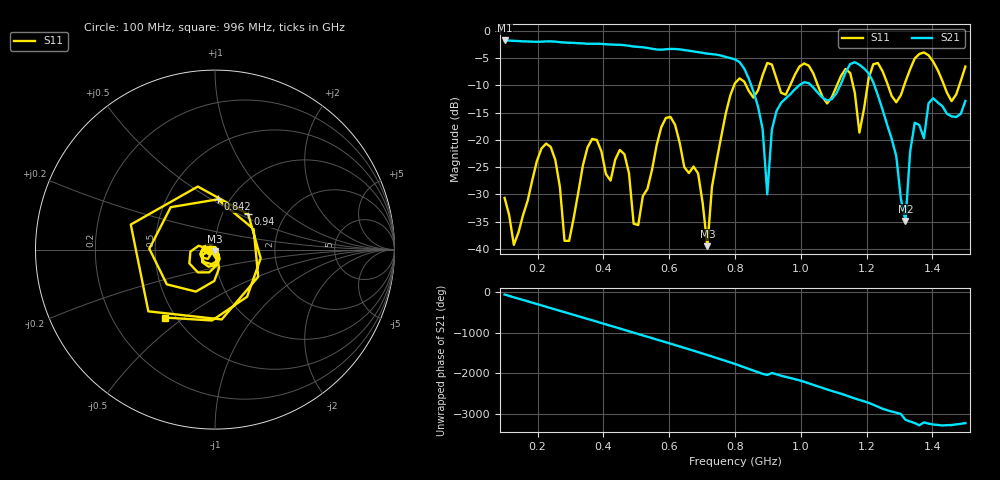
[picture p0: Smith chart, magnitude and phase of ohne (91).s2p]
! NanoVNA-App
! Date: 2025-09-26 09:56:06
! Start: 100MHz Stop: 1,5GHz Points: 101
! S-Parameter data: F S11 S21 S12 S22
# Hz S RI R 50
!  Frequency  S11_Real  S11_Imag  S21_Real  S21_Imag  S12_Real  S12_Imag  S22_Real  S22_Imag
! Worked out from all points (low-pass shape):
!   101 points, 100 MHz to 1.5 GHz, reference 50 ohm
!   highest |S21| = -1.79 dB at 100 MHz (marker M1); lowest = -34.9 dB at 1.318 GHz (marker M2)
!   |S21| within 3 dB of the highest: start of sweep to 770.9 MHz
!   lowest |S11| = -39.5 dB at 716 MHz (marker M3), VSWR 1.02, Z = 49.9 - j1.05 ohm
!   |S11| at or under -10 dB: start of sweep to 797.5 MHz; 833.5 MHz to 874.7 MHz (41.17 MHz wide, 4.82 % of centre); 1.052 GHz to 1.11 GHz (58.34 MHz wide, 5.4 % of centre)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
!   S12 and S22 are empty: the file has one direction only
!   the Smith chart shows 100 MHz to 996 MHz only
!   S11 on the Smith chart (normalised r, x): 100 MHz: 0.94, -0.01; 842 MHz: 0.88, +0.53; 940 MHz: 1.32, +0.56; 996 MHz: 0.44, -0.43
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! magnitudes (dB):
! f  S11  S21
! 100 MHz  -30.6  -1.8
! 128 MHz  -39.2  -1.9
! 226 MHz  -20.7  -2.0
! 296 MHz  -38.5  -2.2
! 338 MHz  -24.6  -2.3
! 464 MHz  -22.6  -2.7
! 506 MHz  -35.6  -3.0
! 576 MHz  -17.7  -3.5
! 688 MHz  -26.2  -3.9
! 716 MHz  -39.5  -4.2
! 800 MHz  -9.6  -5.3
! 842 MHz  -11.0  -8.8
! 898 MHz  -5.9  -30.0
! 940 MHz  -11.4  -13.2
! 996 MHz  -6.6  -10.0
! 1.038 GHz  -7.8  -10.4
! 1.178 GHz  -18.7  -6.2
! 1.22 GHz  -6.2  -9.4
! 1.276 GHz  -12.0  -19.8
! 1.318 GHz  -9.3  -34.9
! 1.346 GHz  -5.1  -16.9
! 1.5 GHz  -6.6  -12.9
